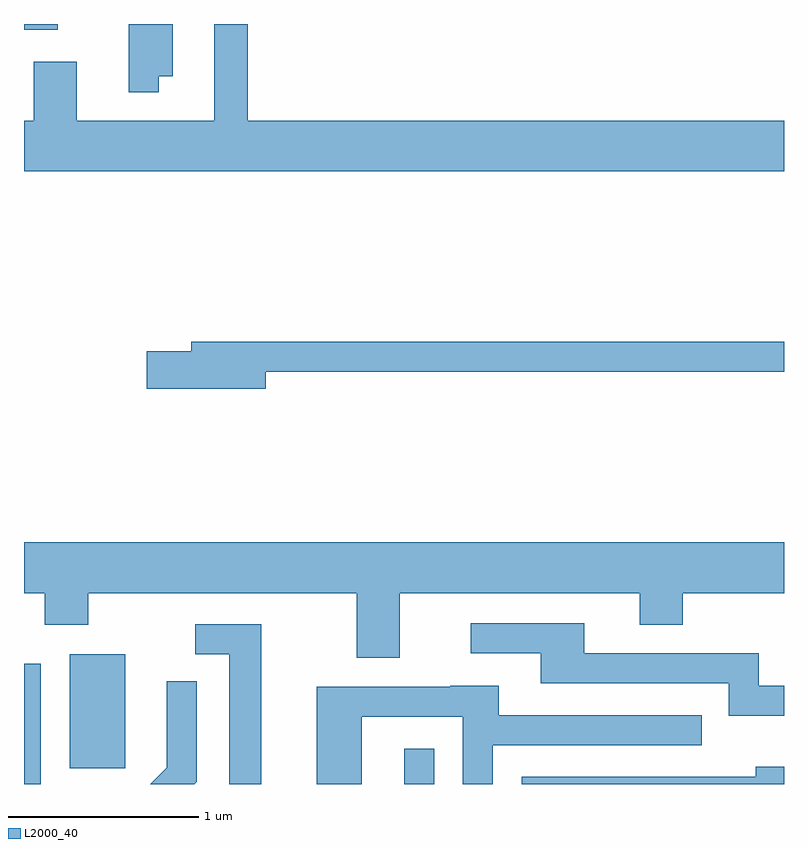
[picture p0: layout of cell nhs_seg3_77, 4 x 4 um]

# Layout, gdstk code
import gdstk
lib = gdstk.Library(unit=1e-6, precision=1e-09)
def R(c, l, rs):  # rectangles x0, y0, x1, y1
    for r in rs: c.add(gdstk.rectangle(r[:2], r[2:], *l))
def P(c, l, *ps):  # polygons
    for p in ps: c.add(gdstk.Polygon(p, *l))
L2000_40 = (2000, 40)

nhs_seg3_77 = lib.new_cell('nhs_seg3_77')
R(nhs_seg3_77, L2000_40, [(187.611,1133.892,187.699,1134.524), (189.611,1133.892,189.769,1134.078), (187.851,1133.976,188.144,1134.574), (187.611,1137.861,187.789,1137.892)])
P(nhs_seg3_77, L2000_40, [(188.319,1137.616),(188.394,1137.616),(188.394,1137.892),(188.161,1137.892),(188.161,1137.533),(188.319,1137.533)],
  [(191.611,1137.384),(188.789,1137.384),(188.789,1137.892),(188.611,1137.892),(188.611,1137.384),(187.889,1137.384),(187.889,1137.694),(187.661,1137.694),(187.661,1137.384),(187.611,1137.384),(187.611,1137.116),(191.611,1137.116)],
  [(188.884,1136.061),(191.611,1136.061),(191.611,1136.219),(188.491,1136.219),(188.491,1136.169),(188.256,1136.169),(188.256,1135.971),(188.884,1135.971)],
  [(189.589,1134.896),(190.851,1134.896),(190.851,1134.731),(191.079,1134.731),(191.079,1134.896),(191.611,1134.896),(191.611,1135.164),(187.611,1135.164),(187.611,1134.896),(187.721,1134.896),(187.721,1134.731),(187.949,1134.731),(187.949,1134.896),(189.361,1134.896),(189.361,1134.556),(189.589,1134.556)],
  [(191.611,1134.409),(191.479,1134.409),(191.479,1134.579),(190.559,1134.579),(190.559,1134.739),(189.963,1134.739),(189.963,1134.581),(190.331,1134.581),(190.331,1134.421),(191.321,1134.421),(191.321,1134.251),(191.611,1134.251)],
  [(188.859,1134.734),(188.513,1134.734),(188.513,1134.576),(188.691,1134.576),(188.691,1133.892),(188.859,1133.892)],
  [(188.519,1133.904),(188.519,1134.433),(188.361,1134.433),(188.361,1133.977),(188.276,1133.892),(188.507,1133.892)],
  [(189.389,1134.246),(189.921,1134.246),(189.921,1133.892),(190.079,1133.892),(190.079,1134.096),(191.178,1134.096),(191.178,1134.254),(190.109,1134.254),(190.109,1134.409),(189.855,1134.409),(189.855,1134.404),(189.151,1134.404),(189.151,1133.892),(189.389,1133.892)],
  [(191.611,1133.984),(191.461,1133.984),(191.461,1133.929),(190.231,1133.929),(190.231,1133.892),(191.611,1133.892)])

lib.write_gds('nhs_seg3_77.gds')
